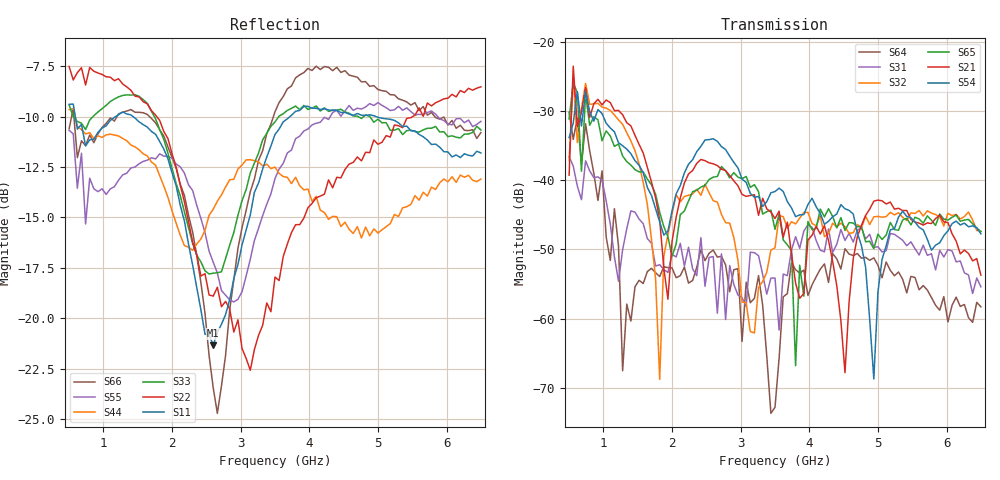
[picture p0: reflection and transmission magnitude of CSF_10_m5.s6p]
!Keysight Technologies,M9804A,MY58100912,A.14.10.03
!Date: Thursday, April 27, 2023 10:28:33
!Correction: S11(C  6-Port  )
!S12(C  6-Port  )
!S13(C  6-Port  )
!S14(C  6-Port  )
!S15(C  6-Port  )
!S16(C  6-Port  )
!S21(C  6-Port  )
!S22(C  6-Port  )
!S23(C  6-Port  )
!S24(C  6-Port  )
!S25(C  6-Port  )
!S26(C  6-Port  )
!S31(C  6-Port  )
!S32(C  6-Port  )
!S33(C  6-Port  )
!S34(C  6-Port  )
!S35(C  6-Port  )
!S36(C  6-Port  )
!S41(C  6-Port  )
!S42(C  6-Port  )
!S43(C  6-Port  )
!S44(C  6-Port  )
!S45(C  6-Port  )
!S46(C  6-Port  )
!S51(C  6-Port  )
!S52(C  6-Port  )
!S53(C  6-Port  )
!S54(C  6-Port  )
!S55(C  6-Port  )
!S56(C  6-Port  )
!S61(C  6-Port  )
!S62(C  6-Port  )
!S63(C  6-Port  )
!S64(C  6-Port  )
!S65(C  6-Port  )
!S66(C  6-Port  )
!S6P File: Measurement: :
# Hz S  RI  R 50
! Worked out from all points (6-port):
!   101 points, 500 MHz to 6.5 GHz, reference 50 ohm
!   strongest paths, dB at 500 MHz, 2 GHz, 3.5 GHz, 5 GHz, 6.5 GHz:
!     S54: -33.9, -44.4, -41.6, -56.2, -47.7
!     S21: -39.3, -48.8, -45.5, -42.9, -53.7
!     S65: -31.1, -51.0, -47.1, -47.8, -47.4
!     S32: -37.2, -44.9, -49.8, -45.2, -47.3
!     S31: -36.6, -50.7, -54.1, -49.6, -55.4
!     S64: -30.2, -52.7, -72.8, -52.3, -58.3
!   lowest |S11| = -21.4 dB at 2.6 GHz (marker M1), VSWR 1.19, Z = 42.4 + j2.21 ohm
!   |S11| at or under -10 dB: 590.3 MHz to 1.175 GHz (584.4 MHz wide, 66.2 % of centre); 1.435 GHz to 3.715 GHz (2.281 GHz wide, 88.6 % of centre); 4.976 GHz to end of sweep
